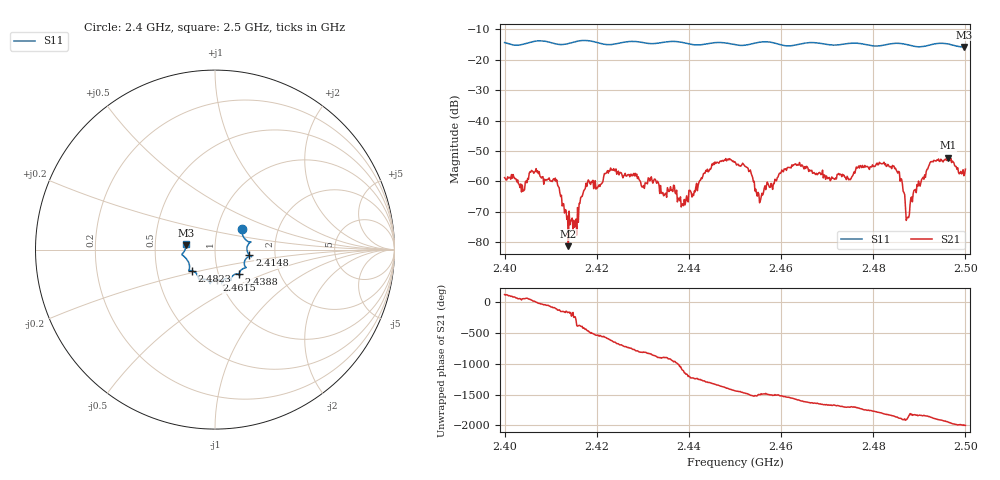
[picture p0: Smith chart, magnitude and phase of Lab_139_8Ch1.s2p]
# Hz S RI R 50
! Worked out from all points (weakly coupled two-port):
!   601 points, 2.4 GHz to 2.5 GHz, reference 50 ohm
!   highest |S21| = -52.22 dB at 2.4962 GHz (marker M1); lowest = -81.4 dB at 2.4138 GHz (marker M2)
!   lowest |S11| = -15.8 dB at 2.4997 GHz (marker M3), VSWR 1.39, Z = 36.1 + j1.78 ohm
!   |S11| at or under -10 dB: start of sweep to end of sweep
!   S12 and S22 are empty: the file has one direction only
!   S11 on the Smith chart (normalised r, x): 2.4 GHz: 1.31, +0.32; 2.4148 GHz: 1.47, -0.10; 2.4388 GHz: 1.25, -0.36; 2.4615 GHz: 0.97, -0.34; 2.4823 GHz: 0.75, -0.18; 2.5 GHz: 0.72, +0.04
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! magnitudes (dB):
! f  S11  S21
! 2.4 GHz  -14.3  -58.8
! 2.411 GHz  -14.7  -59.0
! 2.4138 GHz  -14.7  -81.4
! 2.4148 GHz  -14.3  -75.9
! 2.4167 GHz  -13.7  -65.0
! 2.4232 GHz  -15.0  -56.3
! 2.4333 GHz  -14.5  -60.4
! 2.4388 GHz  -14.4  -68.1
! 2.4455 GHz  -14.4  -54.5
! 2.45 GHz  -15.0  -53.6
! 2.453 GHz  -15.0  -56.8
! 2.4552 GHz  -14.3  -64.2
! 2.4615 GHz  -15.4  -55.4
! 2.4667 GHz  -14.3  -56.4
! 2.4823 GHz  -15.2  -53.8
! 2.4833 GHz  -14.9  -54.8
! 2.4858 GHz  -14.6  -60.0
! 2.4875 GHz  -15.1  -71.8
! 2.4923 GHz  -15.1  -53.9
! 2.4962 GHz  -14.8  -52.2
! 2.4997 GHz  -15.8  -58.2
! 2.5 GHz  -15.7  -56.0
